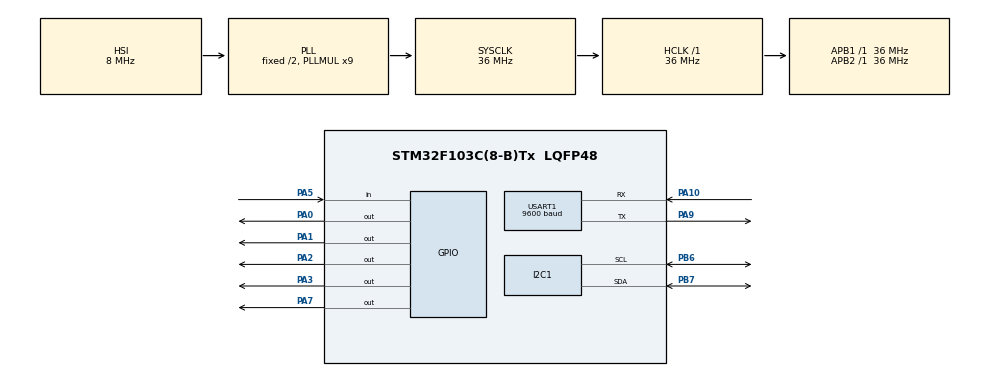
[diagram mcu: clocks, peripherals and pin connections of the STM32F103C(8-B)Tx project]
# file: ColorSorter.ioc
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I2C1.I2C_Mode=I2C_Fast
Mcu.Family=STM32F1
Mcu.Name=STM32F103C(8-B)Tx
Mcu.Package=LQFP48
NVIC.PriorityGroup=NVIC_PRIORITYGROUP_4
PA0-WKUP.Signal=GPIO_Output
PA1.Signal=GPIO_Output
PA10.Mode=Asynchronous
PA10.Signal=USART1_RX
PA13.Mode=JTAG_4_pins
PA13.Signal=SYS_JTMS-SWDIO
PA14.Mode=JTAG_4_pins
PA14.Signal=SYS_JTCK-SWCLK
PA15.Mode=JTAG_4_pins
PA15.Signal=SYS_JTDI
PA2.Signal=GPIO_Output
PA3.Signal=GPIO_Output
PA5.GPIO_PuPd=GPIO_PULLDOWN
PA5.Signal=GPIO_Input
PA7.Signal=GPIO_Output
PA9.Mode=Asynchronous
PA9.Signal=USART1_TX
PB3.Mode=JTAG_4_pins
PB3.Signal=SYS_JTDO-TRACESWO
PB6.Mode=I2C
PB6.Signal=I2C1_SCL
PB7.Mode=I2C
PB7.Signal=I2C1_SDA
ProjectManager.HeapSize=0x200
ProjectManager.StackSize=0x400
ProjectManager.TargetToolchain=STM32CubeIDE
RCC.AHBFreq_Value=36000000
RCC.APB1Freq_Value=36000000
RCC.APB1TimFreq_Value=36000000
RCC.APB2Freq_Value=36000000
RCC.APB2TimFreq_Value=36000000
RCC.HCLKFreq_Value=36000000
RCC.PLLMUL=RCC_PLL_MUL9
RCC.SYSCLKFreq_VALUE=36000000
RCC.SYSCLKSource=RCC_SYSCLKSOURCE_PLLCLK
RCC.USBFreq_Value=36000000
USART1.BaudRate=9600
USART1.Parity=PARITY_NONE
USART1.VirtualMode=VM_ASYNC
VP_TIM2_VS_ClockSourceINT.Mode=Internal
VP_TIM2_VS_ClockSourceITR.Mode=TriggerSource_ITR0
board=custom

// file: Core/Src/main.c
/* USER CODE BEGIN Header */
/**
  ******************************************************************************
  * @file           : main.c
  * @brief          : Main program body
  ******************************************************************************
  * @attention
  *
  * Copyright (c) 2024 STMicroelectronics.
  * All rights reserved.
  *
  * This software is licensed under terms that can be found in the LICENSE file
  * in the root directory of this software component.
  * If no LICENSE file comes with this software, it is provided AS-IS.
  *
  ******************************************************************************
  */
/* USER CODE END Header */
#include "main.h"

/* USER CODE BEGIN Includes */
#include "ssd1306.h"
#include "fonts.h"
#include <stdio.h>
#include <math.h>
#include <string.h>
/* USER CODE END Includes */

/* USER CODE BEGIN PTD */
#define RED_Min 0
#define RED_Max 600
#define GREEN_Min 0
#define GREEN_Max 600
#define BLUE_Min 0
#define BLUE_Max 600
/* USER CODE END PTD */

/* USER CODE BEGIN PD */
#define S0_Pin GPIO_PIN_0
#define S1_Pin GPIO_PIN_1
#define S2_Pin GPIO_PIN_2
#define S3_Pin GPIO_PIN_3
#define OUT_Pin GPIO_PIN_4
#define BUTTON GPIO_PIN_5

#define S0_GPIO_Port GPIOA
#define S1_GPIO_Port GPIOA
#define S2_GPIO_Port GPIOA
#define S3_GPIO_Port GPIOA
#define OUT_GPIO_Port GPIOA
#define BUTTON_Port GPIOA
/* USER CODE END PD */

/* USER CODE BEGIN PM */
volatile uint32_t pulse_count = 0;
/* USER CODE END PM */

I2C_HandleTypeDef hi2c1;

TIM_HandleTypeDef htim2;

UART_HandleTypeDef huart1;

void SystemClock_Config(void);
static void MX_GPIO_Init(void);
static void MX_I2C1_Init(void);
static void MX_TIM2_Init(void);
static void MX_USART1_UART_Init(void);
/* USER CODE BEGIN PFP */
void TCS3200_Init(void);
void TCS3200_SetFilter(uint8_t filter);
uint32_t TCS3200_ReadFrequency();
uint8_t NormalizedToRGB(uint32_t freq, uint32_t minFreq, uint32_t maxFreq);
void TCS3200_ReadRGB(uint32_t *red, uint32_t *green, uint32_t *blue);
uint32_t* CheckAndStoreRGB();

	// Khai báo các nguyên mẫu hàm
void forward_nn(const float* input, float* output);
void forward_layer(const float* inputs, int n_inputs, const float* weights, int n_neurons,
                   const float* biases, float* outputs, float (*activation)(float));
float relu(float x);
float sigmoid(float x);
void softmax(const float* inputs, int n_inputs, float* outputs);
int check(const float* ouput_nn);
/* USER CODE END PFP */

/* USER CODE BEGIN 0 */
void PrintRGB(uint32_t red, uint32_t green, uint32_t blue){
	char buffer[50];
	sprintf(buffer, "R: %lu  G: %lu  B:%lu", red, green, blue);
	HAL_UART_Transmit(&huart1, (uint8_t*)buffer, strlen(buffer), HAL_MAX_DELAY);
}
/* USER CODE END 0 */

int main(void)
{

  /* MCU Configuration--------------------------------------------------------*/

  /* Reset of all peripherals, Initializes the Flash interface and the Systick. */
  HAL_Init();

  /* Configure the system clock */
  SystemClock_Config();

  /* Initialize all configured peripherals */
  MX_GPIO_Init();
  MX_I2C1_Init();
  MX_TIM2_Init();
  MX_USART1_UART_Init();
  /* USER CODE BEGIN 2 */
  SSD1306_Init();
  TCS3200_Init();
  uint32_t rgb[3] = {0, 136, 255};
  float input_nn[3];
  float output_nn[3];
  /* USER CODE END 2 */

  /* Infinite loop */
  while (1)
  {
	    input_nn[0] = (float)rgb[0] / 255.0f;
	    input_nn[1] = (float)rgb[1] / 255.0f;
	    input_nn[2] = (float)rgb[2] / 255.0f;

	    forward_nn(input_nn, output_nn);
	    int k = check(output_nn);
	    if (k == 0){
	    	SSD1306_GotoXY(20,20);
	    	SSD1306_Puts("Red", &Font_11x18, 1);
	    	SSD1306_UpdateScreen();
	    }
	    if (k == 1){
	    	SSD1306_GotoXY(20,20);
	    	SSD1306_Puts("Green", &Font_11x18, 1);
	    	SSD1306_UpdateScreen();
	    }
	    if (k == 2){
	    	SSD1306_GotoXY(20,20);
	    	SSD1306_Puts("Blue", &Font_11x18, 1);
	    	SSD1306_UpdateScreen();
	    }

  }
}

void SystemClock_Config(void)
{
  RCC_OscInitTypeDef RCC_OscInitStruct = {0};
  RCC_ClkInitTypeDef RCC_ClkInitStruct = {0};

  /** Initializes the RCC Oscillators according to the specified parameters
  * in the RCC_OscInitTypeDef structure.
  */
  RCC_OscInitStruct.OscillatorType = RCC_OSCILLATORTYPE_HSI;
  RCC_OscInitStruct.HSIState = RCC_HSI_ON;
  RCC_OscInitStruct.HSICalibrationValue = RCC_HSICALIBRATION_DEFAULT;
  RCC_OscInitStruct.PLL.PLLState = RCC_PLL_ON;
  RCC_OscInitStruct.PLL.PLLSource = RCC_PLLSOURCE_HSI_DIV2;
  RCC_OscInitStruct.PLL.PLLMUL = RCC_PLL_MUL9;
  if (HAL_RCC_OscConfig(&RCC_OscInitStruct) != HAL_OK)
  {
    Error_Handler();
  }

  /** Initializes the CPU, AHB and APB buses clocks
  */
  RCC_ClkInitStruct.ClockType = RCC_CLOCKTYPE_HCLK|RCC_CLOCKTYPE_SYSCLK
                              |RCC_CLOCKTYPE_PCLK1|RCC_CLOCKTYPE_PCLK2;
  RCC_ClkInitStruct.SYSCLKSource = RCC_SYSCLKSOURCE_PLLCLK;
  RCC_ClkInitStruct.AHBCLKDivider = RCC_SYSCLK_DIV1;
  RCC_ClkInitStruct.APB1CLKDivider = RCC_HCLK_DIV1;
  RCC_ClkInitStruct.APB2CLKDivider = RCC_HCLK_DIV1;

  if (HAL_RCC_ClockConfig(&RCC_ClkInitStruct, FLASH_LATENCY_1) != HAL_OK)
  {
    Error_Handler();
  }
}

static void MX_I2C1_Init(void)
{

  hi2c1.Instance = I2C1;
  hi2c1.Init.ClockSpeed = 400000;
  hi2c1.Init.DutyCycle = I2C_DUTYCYCLE_2;
  hi2c1.Init.OwnAddress1 = 0;
  hi2c1.Init.AddressingMode = I2C_ADDRESSINGMODE_7BIT;
  hi2c1.Init.DualAddressMode = I2C_DUALADDRESS_DISABLE;
  hi2c1.Init.OwnAddress2 = 0;
  hi2c1.Init.GeneralCallMode = I2C_GENERALCALL_DISABLE;
  hi2c1.Init.NoStretchMode = I2C_NOSTRETCH_DISABLE;
  if (HAL_I2C_Init(&hi2c1) != HAL_OK)
  {
    Error_Handler();
  }

}

static void MX_TIM2_Init(void)
{

  TIM_ClockConfigTypeDef sClockSourceConfig = {0};
  TIM_SlaveConfigTypeDef sSlaveConfig = {0};
  TIM_MasterConfigTypeDef sMasterConfig = {0};

  htim2.Instance = TIM2;
  htim2.Init.Prescaler = 0;
  htim2.Init.CounterMode = TIM_COUNTERMODE_UP;
  htim2.Init.Period = 65535;
  htim2.Init.ClockDivision = TIM_CLOCKDIVISION_DIV1;
  htim2.Init.AutoReloadPreload = TIM_AUTORELOAD_PRELOAD_DISABLE;
  if (HAL_TIM_Base_Init(&htim2) != HAL_OK)
  {
    Error_Handler();
  }
  sClockSourceConfig.ClockSource = TIM_CLOCKSOURCE_INTERNAL;
  if (HAL_TIM_ConfigClockSource(&htim2, &sClockSourceConfig) != HAL_OK)
  {
    Error_Handler();
  }
  sSlaveConfig.SlaveMode = TIM_SLAVEMODE_DISABLE;
  sSlaveConfig.InputTrigger = TIM_TS_ITR0;
  if (HAL_TIM_SlaveConfigSynchro(&htim2, &sSlaveConfig) != HAL_OK)
  {
    Error_Handler();
  }
  sMasterConfig.MasterOutputTrigger = TIM_TRGO_RESET;
  sMasterConfig.MasterSlaveMode = TIM_MASTERSLAVEMODE_DISABLE;
  if (HAL_TIMEx_MasterConfigSynchronization(&htim2, &sMasterConfig) != HAL_OK)
  {
    Error_Handler();
  }

}

static void MX_USART1_UART_Init(void)
{

  huart1.Instance = USART1;
  huart1.Init.BaudRate = 9600;
  huart1.Init.WordLength = UART_WORDLENGTH_8B;
  huart1.Init.StopBits = UART_STOPBITS_1;
  huart1.Init.Parity = UART_PARITY_NONE;
  huart1.Init.Mode = UART_MODE_TX_RX;
  huart1.Init.HwFlowCtl = UART_HWCONTROL_NONE;
  huart1.Init.OverSampling = UART_OVERSAMPLING_16;
  if (HAL_UART_Init(&huart1) != HAL_OK)
  {
    Error_Handler();
  }

}

static void MX_GPIO_Init(void)
{
  GPIO_InitTypeDef GPIO_InitStruct = {0};

  /* GPIO Ports Clock Enable */
  __HAL_RCC_GPIOA_CLK_ENABLE();
  __HAL_RCC_GPIOB_CLK_ENABLE();

  /*Configure GPIO pin Output Level */
  HAL_GPIO_WritePin(GPIOA, GPIO_PIN_0|GPIO_PIN_1|GPIO_PIN_2|GPIO_PIN_3
                          |GPIO_PIN_7, GPIO_PIN_RESET);

  /*Configure GPIO pins : PA0 PA1 PA2 PA3
                           PA7 */
  GPIO_InitStruct.Pin = GPIO_PIN_0|GPIO_PIN_1|GPIO_PIN_2|GPIO_PIN_3
                          |GPIO_PIN_7;
  GPIO_InitStruct.Mode = GPIO_MODE_OUTPUT_PP;
  GPIO_InitStruct.Pull = GPIO_NOPULL;
  GPIO_InitStruct.Speed = GPIO_SPEED_FREQ_LOW;
  HAL_GPIO_Init(GPIOA, &GPIO_InitStruct);

  /*Configure GPIO pin : PA5 */
  GPIO_InitStruct.Pin = GPIO_PIN_5;
  GPIO_InitStruct.Mode = GPIO_MODE_INPUT;
  GPIO_InitStruct.Pull = GPIO_PULLDOWN;
  HAL_GPIO_Init(GPIOA, &GPIO_InitStruct);

}

/* USER CODE BEGIN 4 */

const float layer1_weights[] = {
-1.000034, 0.004155, -1.034409, -1.027560, -1.032790, -0.007708, -0.004044, 1.057768, 0.002526, -0.974304, 1.134888, 1.140078, -0.977461, 1.150575, -0.009843, 1.081702, 0.964246, 0.004067, -0.001869, -1.000862, -1.024731, -0.000676, -0.021501, -0.672442,
0.643971, -0.007820, 0.691880, 0.702061, 0.678230, -0.014878, -0.000420, -0.453437, -0.013700, 0.609220, -0.499153, -0.501184, 0.606021, -0.528430, 0.006427, -0.467120, -0.373622, -0.008900, 0.000548, 0.642126, 0.679425, -0.009382, -0.016044, 0.280958,
0.608352, -0.009833, 0.630960, 0.644207, 0.639461, -0.001313, 0.000562, -0.359813, -0.004356, 0.561741, -0.447902, -0.447503, 0.565181, -0.429904, -0.011587, -0.394288, -0.283903, -0.014454, -0.018812, 0.598503, 0.630526, -0.003772, -0.000805, 0.152787,
};

// Layer 1 Biases
const float layer1_biases[] = {
0.355653, -0.000430, 0.367235, 0.354171, 0.367850, 0.000000, 0.000000, 0.221959, 0.000000, 0.356736, 0.288363, 0.286460, 0.358947, 0.283901, -0.006070, 0.247893, 0.152289, 0.000000, -0.001120, 0.359816, 0.362563, 0.000000, 0.000000, 0.261204
};

// Layer 2 Weights
const float layer2_weights[] = {
-0.977964, -0.952362, -0.970754, -0.983245, -0.947568, -0.954500, -0.967063, -0.942508, -0.952682, -0.957146, -0.976307, -0.942296, -0.963111, -0.949174, -0.956381, -0.965147, -0.939090, -0.964289, -0.977227, -0.983043, -0.966927, -0.954989, -0.976909, -0.957271,
-0.004724, 0.004561, -0.009111, 0.000555, -0.001146, -0.006371, -0.001408, 0.005455, -0.006713, -0.006045, 0.002585, -0.009571, -0.005784, -0.010664, 0.005972, -0.001788, 0.001867, -0.011293, -0.014591, -0.001409, 0.000653, 0.001608, -0.003952, -0.012540,
-0.993978, -0.988615, -1.003021, -0.986998, -0.990625, -0.977515, -0.980318, -0.987654, -0.989481, -0.982562, -0.982100, -0.980499, -0.976879, -0.985292, -0.984112, -0.983956, -0.981718, -0.974840, -0.983070, -0.997978, -0.993305, -0.990871, -0.981412, -0.988999,
-0.992169, -0.980134, -0.978873, -0.981735, -1.003546, -0.995124, -0.992078, -0.974659, -0.972109, -0.974354, -0.995764, -0.974773, -0.994749, -0.988822, -1.005403, -0.993519, -0.985495, -0.991591, -0.991705, -0.977019, -0.981126, -0.982530, -0.977578, -0.984449,
-0.990112, -0.975291, -0.989336, -0.984617, -0.988878, -0.997253, -0.997109, -0.994210, -0.984836, -0.976541, -0.978432, -0.978198, -0.998636, -0.989421, -0.972820, -0.987584, -0.975363, -0.999032, -0.996662, -0.975241, -0.970538, -0.988034, -0.998338, -0.989443,
-0.017071, -0.008245, 0.003149, -0.005190, 0.013534, 0.017015, -0.011400, 0.000644, -0.009594, -0.001658, 0.000265, 0.013528, 0.001477, -0.009716, 0.012072, 0.000548, -0.022252, 0.020675, -0.008265, 0.001558, 0.006044, -0.016456, -0.000867, 0.013351,
0.005091, 0.010833, -0.000455, -0.017761, 0.005478, 0.009585, 0.001558, -0.000599, -0.018361, 0.006487, -0.006781, -0.000812, 0.001999, -0.004785, -0.010292, 0.005240, -0.000985, -0.000575, 0.005027, 0.003210, 0.015201, -0.002357, 0.005080, -0.002374,
1.024532, 0.989531, 1.032925, 1.006256, 1.024231, 0.986704, 1.028330, 1.002301, 1.004058, 1.013034, 1.028709, 0.979779, 1.024480, 1.009968, 1.024724, 1.008145, 1.008232, 1.016595, 1.015576, 1.029513, 1.025644, 1.015912, 1.020594, 1.038560,
0.024587, 0.012398, -0.001527, 0.014166, -0.004131, -0.003341, -0.008540, 0.009200, 0.011017, 0.019078, -0.033032, 0.002761, -0.004734, -0.004210, 0.004106, 0.006064, -0.003645, -0.008141, 0.001051, 0.004198, -0.010171, 0.008796, 0.001997, -0.026429,
-0.939189, -0.942186, -0.946432, -0.947894, -0.938395, -0.936469, -0.948127, -0.946159, -0.906008, -0.945930, -0.939571, -0.938771, -0.933788, -0.943910, -0.933362, -0.944811, -0.918290, -0.942031, -0.932185, -0.923117, -0.938802, -0.947545, -0.925490, -0.940373,
1.096174, 1.066767, 1.104821, 1.087246, 1.076780, 1.065879, 1.094341, 1.075940, 1.054573, 1.050834, 1.084085, 1.061942, 1.077839, 1.088003, 1.098074, 1.057152, 1.048092, 1.076169, 1.090747, 1.074581, 1.083462, 1.089248, 1.070228, 1.069712,
1.091608, 1.061747, 1.094111, 1.094434, 1.071927, 1.065299, 1.093656, 1.081941, 1.071489, 1.054365, 1.077773, 1.047609, 1.089329, 1.076277, 1.076393, 1.071731, 1.052464, 1.078670, 1.089402, 1.087498, 1.077184, 1.090429, 1.081429, 1.078816,
-0.938709, -0.926159, -0.936881, -0.928310, -0.934837, -0.930198, -0.947545, -0.936190, -0.951743, -0.953751, -0.950158, -0.930011, -0.944200, -0.951424, -0.947322, -0.928068, -0.916346, -0.937094, -0.948283, -0.949215, -0.938106, -0.934070, -0.950714, -0.943177,
1.078475, 1.052996, 1.099559, 1.074296, 1.085068, 1.071081, 1.089251, 1.064202, 1.050381, 1.070359, 1.083037, 1.042940, 1.082509, 1.084478, 1.085936, 1.081869, 1.048278, 1.087533, 1.098415, 1.075363, 1.083926, 1.078777, 1.090015, 1.075791,
0.002167, -0.001000, 0.001209, 0.013213, -0.000683, -0.000971, 0.010349, 0.003685, 0.013428, -0.015831, 0.006723, 0.011399, -0.007143, 0.006549, 0.003624, -0.001474, 0.011737, -0.002339, -0.021087, 0.018054, 0.018015, -0.003858, -0.014829, -0.006041,
1.037678, 1.022021, 1.054318, 1.048194, 1.041433, 1.036852, 1.042539, 1.036615, 1.019543, 1.018127, 1.050834, 1.021467, 1.057269, 1.016126, 1.036312, 1.015947, 0.998391, 1.042581, 1.036444, 1.049245, 1.041138, 1.046263, 1.052071, 1.042414,
0.951848, 0.942258, 0.953528, 0.969106, 0.959511, 0.960546, 0.963093, 0.945859, 0.958053, 0.950018, 0.960913, 0.938410, 0.953153, 0.947221, 0.961750, 0.948390, 0.936266, 0.964054, 0.963048, 0.964604, 0.960818, 0.969174, 0.970996, 0.980364,
-0.023795, 0.012464, 0.005587, 0.005185, -0.004393, 0.003450, 0.006795, 0.012716, 0.002912, -0.007577, -0.006003, -0.017392, -0.000392, 0.001595, -0.006368, -0.004667, 0.014614, -0.016418, 0.004042, 0.014475, -0.016755, -0.007632, 0.014189, 0.004636,
-0.008575, 0.005731, -0.001876, 0.005973, 0.012221, 0.005179, -0.000424, -0.002900, -0.006983, 0.000012, 0.000814, 0.013364, 0.006881, -0.001269, 0.006107, -0.007253, 0.003332, -0.008857, 0.010273, -0.000477, 0.000846, 0.008077, 0.017924, -0.001932,
-0.964535, -0.955855, -0.965593, -0.967863, -0.941611, -0.951006, -0.972186, -0.951514, -0.949830, -0.952031, -0.964373, -0.958403, -0.954907, -0.949880, -0.979188, -0.949190, -0.960972, -0.948668, -0.967677, -0.969856, -0.958674, -0.950303, -0.982456, -0.974523,
-0.977848, -0.968150, -0.984700, -0.981496, -0.976173, -0.998369, -0.970167, -0.997988, -0.974491, -0.976396, -0.965050, -0.965500, -0.980113, -0.978764, -0.987321, -0.974165, -0.975974, -0.988648, -0.981221, -0.993607, -0.996828, -0.993010, -0.972848, -0.983213,
-0.000564, -0.008670, 0.006019, -0.007589, 0.009306, 0.011373, -0.003176, 0.015763, -0.007257, -0.002331, 0.011035, -0.003986, -0.010109, 0.000310, 0.011067, -0.014651, -0.007004, 0.003789, 0.008066, -0.008020, 0.000168, 0.004369, -0.010328, -0.006242,
-0.005252, 0.006386, 0.002290, 0.009113, -0.001689, -0.001574, -0.002545, -0.009686, 0.008210, 0.005115, 0.009872, 0.002293, 0.013762, -0.007923, -0.001220, -0.012876, -0.009290, -0.006074, -0.001947, 0.015458, -0.005963, 0.005661, 0.004013, -0.005040,
-0.730601, -0.727313, -0.726390, -0.726195, -0.727828, -0.727466, -0.739819, -0.730288, -0.713538, -0.730609, -0.719401, -0.721971, -0.727489, -0.720882, -0.737932, -0.725800, -0.717022, -0.729350, -0.736997, -0.728827, -0.724656, -0.744340, -0.738007, -0.747748,
};

// Layer 2 Biases
const float layer2_biases[] = {
-0.240845, -0.322985, -0.233244, -0.256385, -0.295037, -0.270935, -0.240746, -0.287444, -0.325714, -0.308183, -0.266573, -0.340071, -0.264941, -0.280685, -0.248936, -0.290679, -0.354252, -0.265352, -0.238501, -0.251605, -0.274119, -0.273859, -0.255438, -0.257769
};

// Layer 3 Weights
const float layer3_weights[] = {
0.913269, 0.535794, 0.711259, 0.681742, 0.563343, 0.562511, 0.557755, 0.544639, 0.552358, 0.545055, 0.568144, 0.546438, 0.664979, 0.513305, 0.511589, 0.545290, 0.508781, 0.558810, 0.833428, 0.556837, 0.544198, 0.536582, 0.535147, 0.545799,
0.887340, 0.461638, 0.662624, 0.619046, 0.496791, 0.503994, 0.526772, 0.491416, 0.460710, 0.458664, 0.469428, 0.470994, 0.616403, 0.467018, 0.442777, 0.492066, 0.452326, 0.482043, 0.766976, 0.494048, 0.451130, 0.481426, 0.483310, 0.442578,
0.938386, 0.550261, 0.726957, 0.715201, 0.573446, 0.568804, 0.564179, 0.583563, 0.557087, 0.547814, 0.571381, 0.569441, 0.683681, 0.552145, 0.528599, 0.548762, 0.525030, 0.573971, 0.828330, 0.584071, 0.544326, 0.558874, 0.543626, 0.543204,
0.915060, 0.528915, 0.725918, 0.661118, 0.529181, 0.551714, 0.551161, 0.562935, 0.535152, 0.526239, 0.545862, 0.537159, 0.662719, 0.518905, 0.509646, 0.557040, 0.540608, 0.527578, 0.820274, 0.549341, 0.539526, 0.536277, 0.530548, 0.511145,
0.895328, 0.509476, 0.686920, 0.658494, 0.522956, 0.545645, 0.543894, 0.539715, 0.528051, 0.514465, 0.537588, 0.539918, 0.633596, 0.497617, 0.477536, 0.518239, 0.490919, 0.522196, 0.794241, 0.524808, 0.488907, 0.513998, 0.495936, 0.515191,
0.912187, 0.517038, 0.688746, 0.668816, 0.502354, 0.547719, 0.524206, 0.530027, 0.484537, 0.513070, 0.520065, 0.514056, 0.654950, 0.475022, 0.493508, 0.521036, 0.490867, 0.516924, 0.801748, 0.524192, 0.504228, 0.503789, 0.497726, 0.506355,
0.934101, 0.548500, 0.726161, 0.703149, 0.555954, 0.569495, 0.558331, 0.558223, 0.542257, 0.548266, 0.567751, 0.554967, 0.671520, 0.544001, 0.525619, 0.555849, 0.520670, 0.539775, 0.824673, 0.550724, 0.531504, 0.535570, 0.527480, 0.528719,
0.895455, 0.498493, 0.701733, 0.650811, 0.506814, 0.559244, 0.538279, 0.541257, 0.513805, 0.502633, 0.522932, 0.501714, 0.626891, 0.480559, 0.486996, 0.523302, 0.491352, 0.509751, 0.779012, 0.515972, 0.494582, 0.499570, 0.487983, 0.512426,
0.884218, 0.471107, 0.674539, 0.637488, 0.479151, 0.503699, 0.521065, 0.499077, 0.483609, 0.478153, 0.497277, 0.466783, 0.627562, 0.436810, 0.442551, 0.508003, 0.450217, 0.471960, 0.773304, 0.495218, 0.456830, 0.503848, 0.446415, 0.446639,
0.870016, 0.478073, 0.677634, 0.633149, 0.509129, 0.521651, 0.527066, 0.514840, 0.496923, 0.461014, 0.495489, 0.489589, 0.622862, 0.471139, 0.456305, 0.493285, 0.472755, 0.497475, 0.762571, 0.490954, 0.476228, 0.486872, 0.474093, 0.484586,
0.915361, 0.522785, 0.719539, 0.687879, 0.539505, 0.560779, 0.543710, 0.543686, 0.535280, 0.521473, 0.538955, 0.518531, 0.643528, 0.511048, 0.505891, 0.539271, 0.500034, 0.540396, 0.809747, 0.547861, 0.518104, 0.525718, 0.528267, 0.493788,
0.855205, 0.437044, 0.674374, 0.626270, 0.455115, 0.485590, 0.491017, 0.498847, 0.449689, 0.456238, 0.473377, 0.469393, 0.588277, 0.444549, 0.417675, 0.449468, 0.443880, 0.451633, 0.761267, 0.475431, 0.438264, 0.448027, 0.444861, 0.443801,
0.911837, 0.529132, 0.709479, 0.681728, 0.540533, 0.547583, 0.544944, 0.548433, 0.515606, 0.504154, 0.538065, 0.529623, 0.668136, 0.521629, 0.516918, 0.545116, 0.509755, 0.547582, 0.816676, 0.550541, 0.524641, 0.535272, 0.527847, 0.518945,
0.906693, 0.507666, 0.690177, 0.663988, 0.517183, 0.554113, 0.523603, 0.541257, 0.521889, 0.493261, 0.528317, 0.521334, 0.627885, 0.508658, 0.491370, 0.513038, 0.499560, 0.521826, 0.807023, 0.524293, 0.493589, 0.513500, 0.505225, 0.507846,
0.915110, 0.524858, 0.727629, 0.679902, 0.541393, 0.555220, 0.557210, 0.568244, 0.533113, 0.531052, 0.574771, 0.544293, 0.661065, 0.518945, 0.534003, 0.568140, 0.505098, 0.556637, 0.812233, 0.555282, 0.537479, 0.546249, 0.518593, 0.529054,
0.890152, 0.496737, 0.682753, 0.658960, 0.514674, 0.541243, 0.528620, 0.524789, 0.513386, 0.494314, 0.513782, 0.513924, 0.628191, 0.482000, 0.457239, 0.506693, 0.478959, 0.527297, 0.788868, 0.508732, 0.483067, 0.506035, 0.484257, 0.488778,
0.863349, 0.445973, 0.646116, 0.592809, 0.461420, 0.482470, 0.490622, 0.474986, 0.460717, 0.444573, 0.461585, 0.447028, 0.592298, 0.429472, 0.432877, 0.457834, 0.433728, 0.447525, 0.731258, 0.456434, 0.442022, 0.459493, 0.415973, 0.442469,
0.926311, 0.504662, 0.685767, 0.695556, 0.520336, 0.567799, 0.555238, 0.539408, 0.521527, 0.529497, 0.558335, 0.520710, 0.648500, 0.524425, 0.492081, 0.544058, 0.498995, 0.519215, 0.826312, 0.533955, 0.525193, 0.519918, 0.515583, 0.511750,
0.930402, 0.554998, 0.733308, 0.692396, 0.536225, 0.558101, 0.562023, 0.557619, 0.555751, 0.555264, 0.558269, 0.551969, 0.660623, 0.521380, 0.529996, 0.563639, 0.527059, 0.548435, 0.820223, 0.559065, 0.529598, 0.543142, 0.522344, 0.541688,
0.938254, 0.530222, 0.712039, 0.689402, 0.552507, 0.551864, 0.559771, 0.560598, 0.546983, 0.538237, 0.542388, 0.529005, 0.636491, 0.519913, 0.495428, 0.558549, 0.520639, 0.533001, 0.813860, 0.560185, 0.538804, 0.528493, 0.515868, 0.530353,
0.903770, 0.523548, 0.709471, 0.661765, 0.518641, 0.545458, 0.520960, 0.545556, 0.525795, 0.521823, 0.544754, 0.540523, 0.648509, 0.520681, 0.511549, 0.538654, 0.495734, 0.532434, 0.821463, 0.534488, 0.521583, 0.536783, 0.500298, 0.503500,
0.916041, 0.527515, 0.721621, 0.693103, 0.551017, 0.556113, 0.554459, 0.553821, 0.524127, 0.509990, 0.547190, 0.530661, 0.643064, 0.514386, 0.495249, 0.543030, 0.525604, 0.520317, 0.793009, 0.544804, 0.509340, 0.534241, 0.525909, 0.522523,
0.918477, 0.545878, 0.714213, 0.685639, 0.549117, 0.545414, 0.551436, 0.572747, 0.525454, 0.528409, 0.554162, 0.529585, 0.656096, 0.516276, 0.515618, 0.553641, 0.524259, 0.548511, 0.806653, 0.542361, 0.530774, 0.550770, 0.512368, 0.537538,
0.917226, 0.528890, 0.708500, 0.701507, 0.524553, 0.578164, 0.567331, 0.563033, 0.520056, 0.512990, 0.554956, 0.538504, 0.649503, 0.498574, 0.512457, 0.554464, 0.497798, 0.541444, 0.804740, 0.550086, 0.546168, 0.510107, 0.538702, 0.520821,
};

// Layer 3 Biases
const float layer3_biases[] = {
-1.204860, -1.544643, -1.344519, -1.289125, -1.522836, -1.449620, -1.509803, -1.524840, -1.563771, -1.510726, -1.449943, -1.542299, -0.736005, -1.521236, -1.535392, -1.472404, -1.560066, -1.459518, -1.012629, -1.497970, -1.506934, -1.546568, -1.523892, -1.511606
};

// Layer 4 Weights
const float layer4_weights[] = {
0.010348, 0.045596, 0.057966, 0.034409, -0.014032, -0.029192, 0.051519, 0.177874, 0.051122, 0.239135, 0.004237, 0.047064, -0.019755, -0.000310, 0.036990, 0.175784,
-0.265048, -0.282979, -0.282177, -0.279422, -0.271747, -0.286740, -0.266301, 0.353704, -0.283595, 0.349810, -0.281230, -0.275144, -0.295889, -0.283685, -0.275550, 0.348529,
-0.070821, -0.058467, -0.050747, -0.056606, -0.067669, -0.084592, -0.034982, 0.209825, -0.035136, 0.247256, -0.067503, -0.033963, -0.101194, -0.062456, -0.025562, 0.204531,
-0.040597, -0.044382, -0.020545, -0.018247, -0.060118, -0.059132, -0.033609, 0.165180, 0.003912, 0.175607, -0.040420, -0.017346, -0.068544, -0.051161, -0.026487, 0.162850,
-0.261441, -0.243976, -0.236977, -0.251461, -0.266802, -0.253845, -0.258148, 0.340105, -0.243111, 0.336035, -0.243201, -0.245544, -0.256698, -0.231499, -0.241278, 0.322251,
-0.153729, -0.159786, -0.141594, -0.169061, -0.171463, -0.165965, -0.148288, 0.252334, -0.140265, 0.260069, -0.162021, -0.154610, -0.167416, -0.164961, -0.166604, 0.245207,
-0.216283, -0.198306, -0.213756, -0.223983, -0.224513, -0.210454, -0.206086, 0.288749, -0.216942, 0.328258, -0.205207, -0.199136, -0.226241, -0.204674, -0.188137, 0.299154,
-0.241103, -0.225486, -0.228578, -0.212015, -0.246422, -0.243911, -0.215351, 0.323453, -0.233274, 0.339087, -0.239100, -0.218704, -0.255802, -0.238086, -0.233388, 0.329413,
-0.304847, -0.287085, -0.307323, -0.295458, -0.310259, -0.313709, -0.303543, 0.376216, -0.313711, 0.390571, -0.294059, -0.297516, -0.311258, -0.296294, -0.296487, 0.375271,
-0.217914, -0.229478, -0.215358, -0.234568, -0.247989, -0.238286, -0.232155, 0.295823, -0.223857, 0.298421, -0.231855, -0.222261, -0.222389, -0.227157, -0.240854, 0.299180,
-0.162653, -0.176890, -0.157731, -0.175943, -0.154225, -0.169734, -0.158317, 0.252277, -0.136014, 0.250649, -0.149830, -0.178022, -0.185849, -0.166740, -0.169612, 0.248679,
-0.261170, -0.279681, -0.292524, -0.265176, -0.266780, -0.275913, -0.275866, 0.348918, -0.261656, 0.357906, -0.291737, -0.276752, -0.298086, -0.284335, -0.254399, 0.361050,
0.170998, 0.185972, 0.218882, 0.166266, 0.130143, 0.125822, 0.207663, 0.000845, 0.225498, 0.034377, 0.165059, 0.199160, 0.115466, 0.166054, 0.201588, -0.001904,
-0.244240, -0.239509, -0.259257, -0.254482, -0.245852, -0.261003, -0.275260, 0.327845, -0.243334, 0.304855, -0.241238, -0.260507, -0.261075, -0.242144, -0.255794, 0.305054,
-0.262369, -0.275947, -0.281812, -0.281453, -0.263662, -0.265605, -0.285828, 0.319824, -0.281818, 0.322446, -0.265669, -0.279961, -0.259281, -0.277209, -0.264224, 0.329859,
-0.177394, -0.191063, -0.185986, -0.187560, -0.181953, -0.202623, -0.171419, 0.259802, -0.174333, 0.270700, -0.194381, -0.168647, -0.190615, -0.206095, -0.176232, 0.275192,
-0.310038, -0.312492, -0.300441, -0.307190, -0.298109, -0.290612, -0.292233, 0.364772, -0.313477, 0.351343, -0.308990, -0.304464, -0.295496, -0.308267, -0.309070, 0.360953,
-0.175110, -0.165109, -0.172139, -0.171878, -0.187417, -0.190172, -0.172428, 0.250453, -0.171697, 0.255836, -0.158734, -0.154894, -0.172946, -0.175786, -0.169117, 0.241810,
0.064745, 0.066084, 0.133683, 0.072268, 0.067525, 0.035096, 0.099658, 0.079127, 0.125942, 0.095986, 0.084686, 0.085626, 0.033547, 0.072868, 0.073520, 0.086544,
-0.208860, -0.231427, -0.217444, -0.217444, -0.203091, -0.231627, -0.194087, 0.293810, -0.192536, 0.299964, -0.218287, -0.203585, -0.216252, -0.227561, -0.186490, 0.299053,
-0.233541, -0.250484, -0.214894, -0.237452, -0.233332, -0.223827, -0.242661, 0.303794, -0.214954, 0.305105, -0.233577, -0.253658, -0.220600, -0.222947, -0.261878, 0.298778,
-0.286328, -0.263249, -0.250804, -0.273322, -0.255779, -0.275577, -0.293039, 0.346063, -0.272705, 0.353297, -0.285357, -0.265840, -0.273028, -0.281448, -0.267481, 0.351843,
-0.225299, -0.256529, -0.259740, -0.254723, -0.253067, -0.241791, -0.264847, 0.311848, -0.269408, 0.332879, -0.268680, -0.261072, -0.252463, -0.252950, -0.261695, 0.315886,
-0.258970, -0.238380, -0.234600, -0.219763, -0.244969, -0.236586, -0.223126, 0.307003, -0.212818, 0.294109, -0.240604, -0.263787, -0.234627, -0.228886, -0.249354, 0.306809,
};

// Layer 4 Biases
const float layer4_biases[] = {
1.347267, 1.347538, 1.342754, 1.347336, 1.300633, 1.294787, 1.364140, -1.269043, 1.310920, -1.272810, 1.336237, 1.370207, 1.286474, 1.330343, 1.370780, -1.278986
};

// Layer 5 Weights
const float output_weights[] = {
0.491593, 0.286852, -0.888003,
0.480447, 0.278488, -0.893616,
0.449433, 0.280336, -0.884925,
0.491023, 0.288876, -0.883289,
0.475922, 0.252246, -0.870545,
0.465721, 0.233341, -0.846295,
0.495788, 0.307898, -0.924619,
-0.771749, -0.190709, 0.957530,
0.442715, 0.284792, -0.872831,
-0.811963, -0.170090, 0.971072,
0.482242, 0.274759, -0.870472,
0.508888, 0.317137, -0.932261,
0.452927, 0.217646, -0.840118,
0.467070, 0.256742, -0.876104,
0.513034, 0.320380, -0.933255,
-0.788683, -0.206095, 0.960171,
};

// Layer 5 Biases
const float output_biases[] = {
-0.324474, -0.071484, 0.677330
};

void forward_nn(const float* input, float* output) {
    float layer1_output[24];
    float layer2_output[24];
    float layer3_output[24];
    float layer4_output[16];
    float final_output[3];

    forward_layer(input, 3, layer1_weights, 24, layer1_biases, layer1_output, relu);
    forward_layer(layer1_output, 24, layer2_weights, 24, layer2_biases, layer2_output, sigmoid);
    forward_layer(layer2_output, 24, layer3_weights, 24, layer3_biases, layer3_output, sigmoid);
    forward_layer(layer3_output, 24, layer4_weights, 16, layer4_biases, layer4_output, sigmoid);
    forward_layer(layer4_output, 16, output_weights, 3, output_biases, final_output, NULL);
    softmax(final_output, 3, output);
}

// Hàm kích hoạt ReLU
float relu(float x) {
    return (x > 0) ? x : 0;
}

// Hàm kích hoạt Sigmoid
float sigmoid(float x) {
    return 1.0f / (1.0f + expf(-x));
}

// Hàm Softmax
void softmax(const float* inputs, int n_inputs, float* outputs) {
    float max_input = inputs[0];
    for (int i = 1; i < n_inputs; i++) {
        if (inputs[i] > max_input) {
            max_input = inputs[i];
        }
    }

    float sum_exp = 0.0f;
    for (int i = 0; i < n_inputs; i++) {
        outputs[i] = expf(inputs[i] - max_input);
        sum_exp += outputs[i];
    }

    for (int i = 0; i < n_inputs; i++) {
        outputs[i] /= sum_exp;
    }
}

// Hàm forward propagation cho từng lớp
void forward_layer(const float* inputs, int n_inputs, const float* weights, int n_neurons,
                   const float* biases, float* outputs, float (*activation)(float)) {
    for (int i = 0; i < n_neurons; i++) {
        outputs[i] = biases[i];
        for (int j = 0; j < n_inputs; j++) {
            outputs[i] += inputs[j] * weights[i * n_inputs + j];
        }
        if (activation != NULL) {
            outputs[i] = activation(outputs[i]);
        }
    }
}

void TCS3200_Init(void){
	HAL_GPIO_WritePin(S0_GPIO_Port, S0_Pin, GPIO_PIN_SET);
	HAL_GPIO_WritePin(S1_GPIO_Port, S1_Pin, GPIO_PIN_RESET);
}

void TCS3200_SetFilter(uint8_t filter) {
    switch (filter) {
        case 0: // Red
            HAL_GPIO_WritePin(S2_GPIO_Port, S2_Pin, GPIO_PIN_RESET);
            HAL_GPIO_WritePin(S3_GPIO_Port, S3_Pin, GPIO_PIN_RESET);
            break;
        case 1: // Green
            HAL_GPIO_WritePin(S2_GPIO_Port, S2_Pin, GPIO_PIN_SET);
            HAL_GPIO_WritePin(S3_GPIO_Port, S3_Pin, GPIO_PIN_SET);
            break;
        case 2: // Blue
            HAL_GPIO_WritePin(S2_GPIO_Port, S2_Pin, GPIO_PIN_RESET);
            HAL_GPIO_WritePin(S3_GPIO_Port, S3_Pin, GPIO_PIN_SET);
            break;
        default:
            break;
    }
}
uint32_t TCS3200_ReadFrequency() {
    uint32_t count = 0;
    uint32_t timeout = HAL_GetTick() + 1000; // 1 giây timeout
    while (HAL_GetTick() < timeout) {
        if (HAL_GPIO_ReadPin(OUT_GPIO_Port, OUT_Pin) == GPIO_PIN_SET) {
            count++;
            while (HAL_GPIO_ReadPin(OUT_GPIO_Port, OUT_Pin) == GPIO_PIN_SET);
        }
    }
    return count;
}

uint8_t NormalizeToRGB(uint32_t freq, uint32_t minFreq, uint32_t maxFreq) {
    if (freq < minFreq) freq = minFreq;
    if (freq > maxFreq) freq = maxFreq;
    return (uint8_t)(((freq - minFreq) * 255) / (maxFreq - minFreq));
}

void TCS3200_ReadRGB(uint32_t *red, uint32_t *green, uint32_t *blue) {
    uint32_t rawRed, rawGreen, rawBlue;

    // Đọc giá trị tần số thô từ cảm biến
    TCS3200_SetFilter(0); // Chọn bộ lọc Red
    HAL_Delay(50);       // Chờ ổn định
    rawRed = TCS3200_ReadFrequency();

    TCS3200_SetFilter(1); // Chọn bộ lọc Green
    HAL_Delay(50);
    rawGreen = TCS3200_ReadFrequency();

    TCS3200_SetFilter(2); // Chọn bộ lọc Blue
    HAL_Delay(50);
    rawBlue = TCS3200_ReadFrequency();

    // Chuẩn hóa giá trị tần số thành thang đo 0-255
    *red = NormalizeToRGB(rawRed, RED_Min, RED_Max);
    *green = NormalizeToRGB(rawGreen, GREEN_Min, GREEN_Max);
    *blue = NormalizeToRGB(rawBlue, BLUE_Min, BLUE_Max);
}
int check(const float* output_nn){
	int status = 0;
	float max = output_nn[0];
	for(int i = 0; i < 3; i ++){
		if(output_nn[i] > max){
			max = output_nn[i];
			status = i;
		}
	}
	return status;
}

uint32_t* CheckAndStoreRGB() {
    static uint32_t rgb[3]; // Mảng RGB (static để không bị xóa sau khi hàm kết thúc)
    static uint8_t buttonPressed = 0; // Trạng thái nút nhấn
    uint32_t red, green, blue;
	TCS3200_ReadRGB(&red, &green, &blue);
    // Kiểm tra trạng thái nút
    if (HAL_GPIO_ReadPin(BUTTON_Port, BUTTON) == GPIO_PIN_SET) {
        if (buttonPressed == 0) { // Nếu nút vừa được nhấn
            buttonPressed = 1; // Đánh dấu nút đã được nhấn

            // Đọc giá trị RGB từ cảm biến

            // Lưu vào mảng RGB
            rgb[0] = red;
            rgb[1] = green;
            rgb[2] = blue;
        }
    } else {
        buttonPressed = 0; // Reset trạng thái khi nút được thả
    }

    return rgb; // Trả về con trỏ tới mảng RGB
}

/* USER CODE END 4 */

void Error_Handler(void)
{
  __disable_irq();
  while (1)
  {
  }
}
